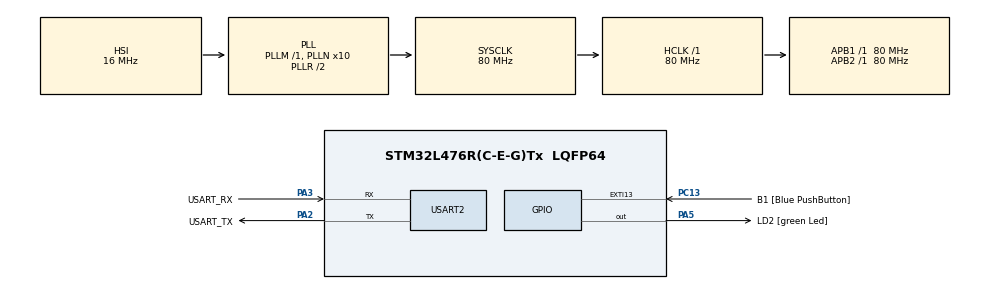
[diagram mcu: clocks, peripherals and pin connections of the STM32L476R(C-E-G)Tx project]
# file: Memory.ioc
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Mcu.Family=STM32L4
Mcu.Name=STM32L476R(C-E-G)Tx
Mcu.Package=LQFP64
NVIC.PriorityGroup=NVIC_PRIORITYGROUP_4
PA13\ (JTMS-SWDIO).GPIO_Label=TMS
PA13\ (JTMS-SWDIO).Mode=Serial_Wire
PA13\ (JTMS-SWDIO).Signal=SYS_JTMS-SWDIO
PA14\ (JTCK-SWCLK).GPIO_Label=TCK
PA14\ (JTCK-SWCLK).Mode=Serial_Wire
PA14\ (JTCK-SWCLK).Signal=SYS_JTCK-SWCLK
PA2.GPIO_Label=USART_TX
PA2.GPIO_Mode=GPIO_MODE_AF_PP
PA2.GPIO_PuPd=GPIO_NOPULL
PA2.GPIO_Speed=GPIO_SPEED_FREQ_VERY_HIGH
PA2.Mode=Asynchronous
PA2.Signal=USART2_TX
PA3.GPIO_Label=USART_RX
PA3.GPIO_Mode=GPIO_MODE_AF_PP
PA3.GPIO_PuPd=GPIO_NOPULL
PA3.GPIO_Speed=GPIO_SPEED_FREQ_VERY_HIGH
PA3.Mode=Asynchronous
PA3.Signal=USART2_RX
PA5.GPIO_Label=LD2 [green Led]
PA5.GPIO_ModeDefaultOutputPP=GPIO_MODE_OUTPUT_PP
PA5.GPIO_PuPd=GPIO_NOPULL
PA5.GPIO_Speed=GPIO_SPEED_FREQ_LOW
PA5.Signal=GPIO_Output
PB3\ (JTDO-TRACESWO).GPIO_Label=SWO
PB3\ (JTDO-TRACESWO).Signal=SYS_JTDO-SWO
PC13.GPIO_Label=B1 [Blue PushButton]
PC13.GPIO_ModeDefaultEXTI=GPIO_MODE_IT_FALLING
PC13.GPIO_PuPd=GPIO_NOPULL
PC13.Signal=GPXTI13
PC14-OSC32_IN\ (PC14).Mode=LSE-External-Oscillator
PC14-OSC32_IN\ (PC14).Signal=RCC_OSC32_IN
PC15-OSC32_OUT\ (PC15).Mode=LSE-External-Oscillator
PC15-OSC32_OUT\ (PC15).Signal=RCC_OSC32_OUT
PH0-OSC_IN\ (PH0).Signal=RCC_OSC_IN
PH1-OSC_OUT\ (PH1).Signal=RCC_OSC_OUT
ProjectManager.HeapSize=0x200
ProjectManager.StackSize=0x400
ProjectManager.TargetToolchain=STM32CubeIDE
RCC.ADCFreq_Value=64000000
RCC.AHBFreq_Value=80000000
RCC.APB1Freq_Value=80000000
RCC.APB1TimFreq_Value=80000000
RCC.APB2Freq_Value=80000000
RCC.APB2TimFreq_Value=80000000
RCC.CortexFreq_Value=80000000
RCC.HCLKFreq_Value=80000000
RCC.HSE_VALUE=8000000
RCC.HSI_VALUE=16000000
RCC.MSI_VALUE=4000000
RCC.PLLN=10
RCC.PLLSourceVirtual=RCC_PLLSOURCE_HSI
RCC.PREFETCH_ENABLE=1
RCC.SYSCLKFreq_VALUE=80000000
RCC.SYSCLKSource=RCC_SYSCLKSOURCE_PLLCLK
RCC.USBFreq_Value=64000000
RCC.VCOOutputFreq_Value=160000000
USART2.VirtualMode-Asynchronous=VM_ASYNC
board=NUCLEO-L476RG

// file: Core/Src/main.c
/* USER CODE BEGIN Header */
/**
  ******************************************************************************
  * @file           : main.c
  * @brief          : Main program body
  ******************************************************************************
  * @attention
  *
  * Copyright (c) 2022 STMicroelectronics.
  * All rights reserved.
  *
  * This software is licensed under terms that can be found in the LICENSE file
  * in the root directory of this software component.
  * If no LICENSE file comes with this software, it is provided AS-IS.
  *
  ******************************************************************************
  */
/* USER CODE END Header */
#include "main.h"

/* USER CODE BEGIN Includes */

#include "stdio.h"
#include <stdlib.h>

/* USER CODE END Includes */

 UART_HandleTypeDef huart2;

void SystemClock_Config(void);
static void MX_GPIO_Init(void);
static void MX_USART2_UART_Init(void);
/* USER CODE BEGIN PFP */
#define PUTCHAR_PROTOTYPE int __io_putchar(int ch)

/* USER CODE END PFP */

/* USER CODE BEGIN 0 */
uint8_t uninitGlobalVar;
uint8_t iniGlobalVar = 0xAA;
static uint8_t initStaticVar = 0xAB;

void allocFunction()
{
	static uint8_t localStaticVar = 0xAC;
	uint8_t localVar = 0xAD;
	char* localCharPtr;// = &localVar;
	char* localAllocCharPtr = (char*)malloc(sizeof(char)*1);
	*localAllocCharPtr = 'Q';

	char* literalLocal = "text";
	const char* literalLocalConst = "text";

	char* literalAlloc = (char*)malloc(sizeof(char) * 4);
	literalAlloc[0] = 't';
	literalAlloc[1] = 'e';
	literalAlloc[2] = 'x';
	literalAlloc[3] = 't';

	printf("uninitGlobalVar: %p\n\r", &uninitGlobalVar);
	printf("iniGlobalVar: %p\n\r", &iniGlobalVar);
	printf("initStaticVar: %p\n\r", &initStaticVar);

	printf("localStaticVar: %p\n\r", &localStaticVar);
	printf("localVar: %p\n\r", &localVar);
	printf("localCharPtr: %p\n\r", localCharPtr);
	printf("localAllocCharPtr: %p\n\r", localAllocCharPtr);
	printf("itSelf: %p\n\r", &allocFunction);

	printf("literalLocal: %p\n\r", literalLocal);
	printf("literalLocalConst: %p\n\r", literalLocalConst);
	printf("literalAlloc: %p\n\r", literalAlloc);

}

/* USER CODE END 0 */

int main(void)
{

  /* MCU Configuration--------------------------------------------------------*/

  /* Reset of all peripherals, Initializes the Flash interface and the Systick. */
  HAL_Init();

  /* Configure the system clock */
  SystemClock_Config();

  /* Initialize all configured peripherals */
  MX_GPIO_Init();
  MX_USART2_UART_Init();
  /* USER CODE BEGIN 2 */
  allocFunction();
  /* USER CODE END 2 */

  /* Infinite loop */
  while (1)
  {

    /* USER CODE BEGIN 3 */
    //  printf("Hello World\n\r");
   //   HAL_Delay(1000);
  }
  /* USER CODE END 3 */
}

void SystemClock_Config(void)
{
  RCC_OscInitTypeDef RCC_OscInitStruct = {0};
  RCC_ClkInitTypeDef RCC_ClkInitStruct = {0};

  /** Configure the main internal regulator output voltage
  */
  if (HAL_PWREx_ControlVoltageScaling(PWR_REGULATOR_VOLTAGE_SCALE1) != HAL_OK)
  {
    Error_Handler();
  }

  /** Initializes the RCC Oscillators according to the specified parameters
  * in the RCC_OscInitTypeDef structure.
  */
  RCC_OscInitStruct.OscillatorType = RCC_OSCILLATORTYPE_HSI;
  RCC_OscInitStruct.HSIState = RCC_HSI_ON;
  RCC_OscInitStruct.HSICalibrationValue = RCC_HSICALIBRATION_DEFAULT;
  RCC_OscInitStruct.PLL.PLLState = RCC_PLL_ON;
  RCC_OscInitStruct.PLL.PLLSource = RCC_PLLSOURCE_HSI;
  RCC_OscInitStruct.PLL.PLLM = 1;
  RCC_OscInitStruct.PLL.PLLN = 10;
  RCC_OscInitStruct.PLL.PLLP = RCC_PLLP_DIV7;
  RCC_OscInitStruct.PLL.PLLQ = RCC_PLLQ_DIV2;
  RCC_OscInitStruct.PLL.PLLR = RCC_PLLR_DIV2;
  if (HAL_RCC_OscConfig(&RCC_OscInitStruct) != HAL_OK)
  {
    Error_Handler();
  }

  /** Initializes the CPU, AHB and APB buses clocks
  */
  RCC_ClkInitStruct.ClockType = RCC_CLOCKTYPE_HCLK|RCC_CLOCKTYPE_SYSCLK
                              |RCC_CLOCKTYPE_PCLK1|RCC_CLOCKTYPE_PCLK2;
  RCC_ClkInitStruct.SYSCLKSource = RCC_SYSCLKSOURCE_PLLCLK;
  RCC_ClkInitStruct.AHBCLKDivider = RCC_SYSCLK_DIV1;
  RCC_ClkInitStruct.APB1CLKDivider = RCC_HCLK_DIV1;
  RCC_ClkInitStruct.APB2CLKDivider = RCC_HCLK_DIV1;

  if (HAL_RCC_ClockConfig(&RCC_ClkInitStruct, FLASH_LATENCY_4) != HAL_OK)
  {
    Error_Handler();
  }
}

static void MX_USART2_UART_Init(void)
{

  huart2.Instance = USART2;
  huart2.Init.BaudRate = 115200;
  huart2.Init.WordLength = UART_WORDLENGTH_8B;
  huart2.Init.StopBits = UART_STOPBITS_1;
  huart2.Init.Parity = UART_PARITY_NONE;
  huart2.Init.Mode = UART_MODE_TX_RX;
  huart2.Init.HwFlowCtl = UART_HWCONTROL_NONE;
  huart2.Init.OverSampling = UART_OVERSAMPLING_16;
  huart2.Init.OneBitSampling = UART_ONE_BIT_SAMPLE_DISABLE;
  huart2.AdvancedInit.AdvFeatureInit = UART_ADVFEATURE_NO_INIT;
  if (HAL_UART_Init(&huart2) != HAL_OK)
  {
    Error_Handler();
  }

}

static void MX_GPIO_Init(void)
{
  GPIO_InitTypeDef GPIO_InitStruct = {0};

  /* GPIO Ports Clock Enable */
  __HAL_RCC_GPIOC_CLK_ENABLE();
  __HAL_RCC_GPIOH_CLK_ENABLE();
  __HAL_RCC_GPIOA_CLK_ENABLE();
  __HAL_RCC_GPIOB_CLK_ENABLE();

  /*Configure GPIO pin Output Level */
  HAL_GPIO_WritePin(LD2_GPIO_Port, LD2_Pin, GPIO_PIN_RESET);

  /*Configure GPIO pin : B1_Pin */
  GPIO_InitStruct.Pin = B1_Pin;
  GPIO_InitStruct.Mode = GPIO_MODE_IT_FALLING;
  GPIO_InitStruct.Pull = GPIO_NOPULL;
  HAL_GPIO_Init(B1_GPIO_Port, &GPIO_InitStruct);

  /*Configure GPIO pin : LD2_Pin */
  GPIO_InitStruct.Pin = LD2_Pin;
  GPIO_InitStruct.Mode = GPIO_MODE_OUTPUT_PP;
  GPIO_InitStruct.Pull = GPIO_NOPULL;
  GPIO_InitStruct.Speed = GPIO_SPEED_FREQ_LOW;
  HAL_GPIO_Init(LD2_GPIO_Port, &GPIO_InitStruct);

}

/* USER CODE BEGIN 4 */
/**
  * @brief  Retargets the C library printf function to the USART.
  * @param  None
  * @retval None
  */
PUTCHAR_PROTOTYPE
{
  /* Place your implementation of fputc here */
  /* e.g. write a character to the USART1 and Loop until the end of transmission */
  HAL_UART_Transmit(&huart2, (uint8_t *)&ch, 1, 0xFFFF);

  return ch;
}

/* USER CODE END 4 */

void Error_Handler(void)
{
  __disable_irq();
  while (1)
  {
  }
}
